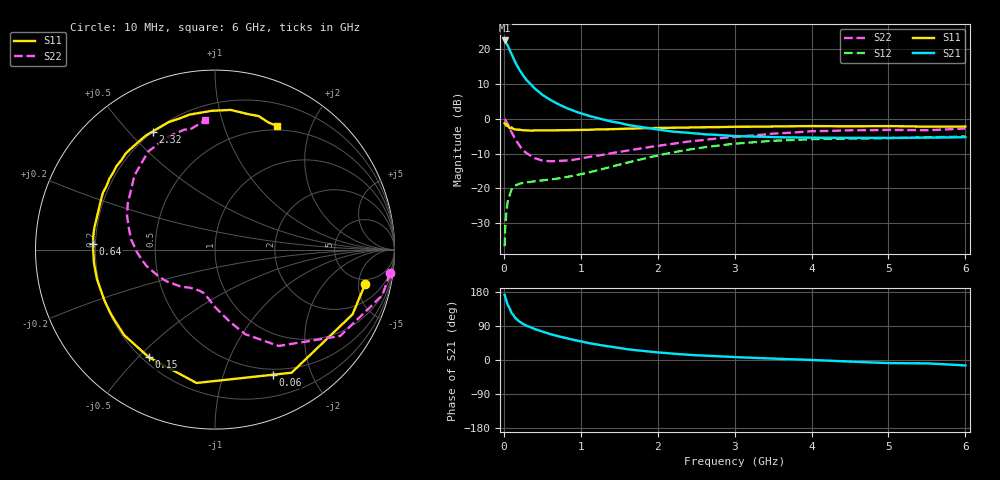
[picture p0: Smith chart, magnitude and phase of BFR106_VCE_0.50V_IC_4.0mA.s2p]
! Infineon Technologies  Discrete & RF Semiconductors
! BFR106
! VCE = 0.50 V,  IC =  4.0 mA
! Common Emitter S-Parameters:  Nov 2015
# GHz  S  MA  R  50
!  f  S11  S21  S12  S22
! GHz  MAG  ANG  MAG  ANG  MAG  ANG  MAG  ANG
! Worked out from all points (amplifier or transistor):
!   210 points, 10 MHz to 6 GHz, reference 50 ohm
!   highest |S21| = 22.4 dB at 10 MHz (marker M1)
!   |S21| within 3 dB of that: start of sweep to 80.6 MHz
!   unconditionally stable (mu >= 1): 610.7 MHz to end of sweep
!   at 185 MHz: K = 0.36, MSG = 16.8 dB, |S12| = -18.8 dB
!   at 1.52 GHz: K = 1.22, MAG = 3.1 dB, |S12| = -13.1 dB
!   at 6 GHz: K = 1.03, MAG = -1.1 dB, |S12| = -5.1 dB
!   S11 on the Smith chart (normalised r, x): 10 MHz: 4.19, -6.08; 60 MHz: 0.43, -1.47; 150 MHz: 0.23, -0.54; 640 MHz: 0.19, +0.02; 2.32 GHz: 0.20, +0.59; 6 GHz: 0.45, +1.53
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0.01  0.8589 -12.8  13.26 171.8  0.0148 84.6  0.9843 -7.7
0.02  0.847 -25.2  12.92 165.2  0.0295 76.2  0.9662 -15.3
0.05  0.8079 -58.1  11.24 145.5  0.0646 59.9  0.8475 -34.6
0.06  0.7676 -65.3  10.59 142.1  0.0703 55.3  0.7989 -38.0
0.1  0.7502 -97.9  8.48 124.0  0.0964 42.7  0.6437 -56.5
0.15  0.704 -121.6  6.374 110.3  0.1096 33.4  0.5018 -70.2
0.2  0.6952 -136.7  5.084 101.7  0.1164 29.2  0.4133 -78.1
0.24  0.6838 -145.2  4.349 96.4  0.1191 27.0  0.363 -83.7
0.26  0.6814 -148.9  4.043 94.0  0.1203 26.3  0.344 -86.2
0.3  0.6782 -155.2  3.539 90.0  0.1221 25.7  0.3172 -90.4
0.4  0.6781 -166.0  2.718 81.7  0.1263 25.6  0.2715 -98.2
0.5  0.6784 -173.7  2.205 74.8  0.1296 26.9  0.2506 -104.3
0.64  0.6796 177.4  1.775 66.4  0.1355 30.1  0.2454 -112.1
0.8  0.6832 169.9  1.443 58.1  0.1443 34.0  0.2499 -120.4
1.02  0.6868 160.0  1.176 48.3  0.1607 38.9  0.2709 -129.6
1.4  0.7087 146.2  0.909 34.9  0.2041 44.7  0.3203 -146.0
2.02  0.7349 126.5  0.693 19.8  0.2991 43.4  0.4103 -171.7
2.32  0.7438 117.8  0.637 14.9  0.347 39.6  0.4559 176.3
3.1  0.7655 98.7  0.559 6.8  0.4452 26.3  0.5581 149.1
4.1  0.7811 82.3  0.532 -0.7  0.5097 9.8  0.6629 122.1
5.1  0.7792 70.9  0.53 -8.3  0.5274 -2.5  0.6886 103.8
6  0.7718 63.3  0.543 -14.3  0.5546 -11.1  0.7233 94.2
